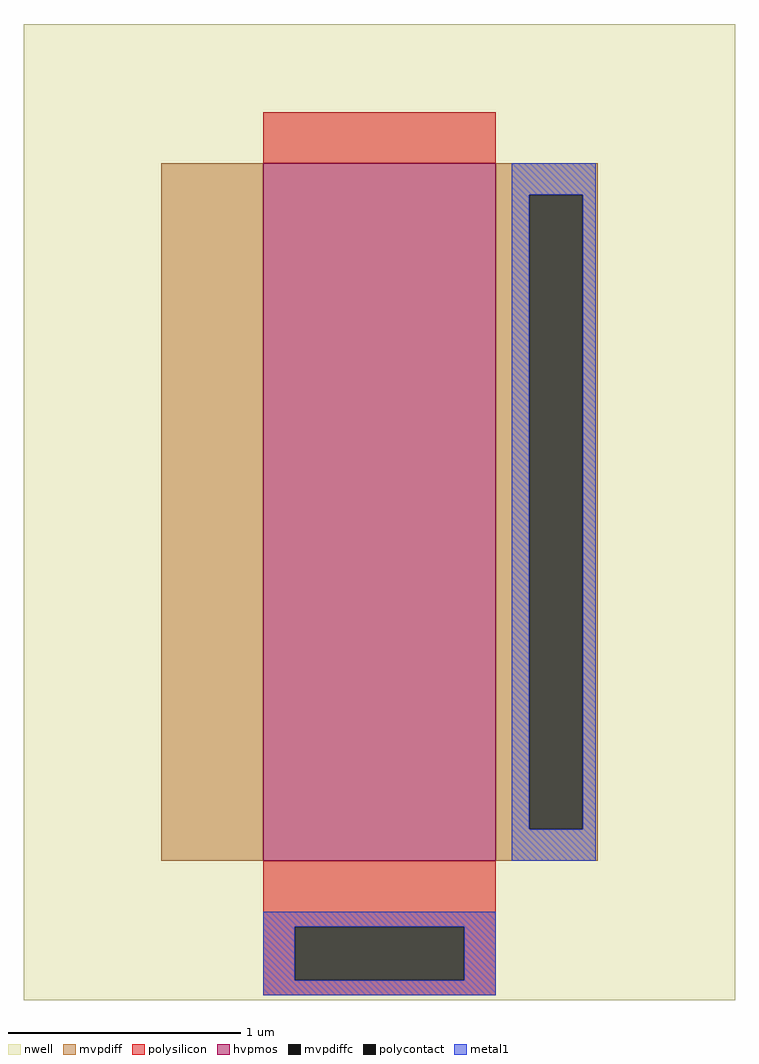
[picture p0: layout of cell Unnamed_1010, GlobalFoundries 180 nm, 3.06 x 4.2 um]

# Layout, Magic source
magic
tech gf180mcuD
magscale 1 10
<< nwell >>
rect -192 -120 420 720
<< hvpmos >>
rect 14 0 214 600
<< mvpdiff >>
rect -74 0 14 600
rect 214 573 302 600
rect 214 27 243 573
rect 289 27 302 573
rect 214 0 302 27
<< mvpdiffc >>
rect 243 27 289 573
<< polysilicon >>
rect 14 600 214 644
rect 14 -57 214 0
rect 14 -103 41 -57
rect 187 -103 214 -57
rect 14 -116 214 -103
<< polycontact >>
rect 41 -103 187 -57
<< metal1 >>
rect 228 573 300 600
rect 228 27 243 573
rect 289 27 300 573
rect 228 0 300 27
rect 14 -57 214 -44
rect 14 -103 41 -57
rect 187 -103 214 -57
rect 14 -116 214 -103
<< end >>
